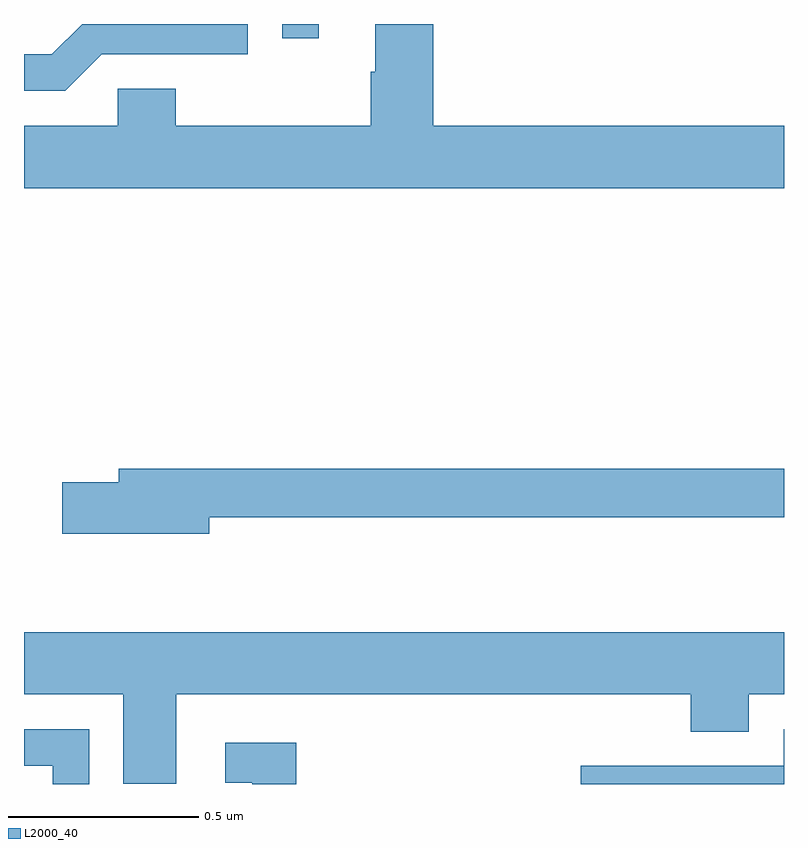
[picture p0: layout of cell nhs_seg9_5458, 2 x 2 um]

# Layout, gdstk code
import gdstk
lib = gdstk.Library(unit=1e-6, precision=1e-09)
def R(c, l, rs):  # rectangles x0, y0, x1, y1
    for r in rs: c.add(gdstk.rectangle(r[:2], r[2:], *l))
def P(c, l, *ps):  # polygons
    for p in ps: c.add(gdstk.Polygon(p, *l))
L2000_40 = (2000, 40)

nhs_seg9_5458 = lib.new_cell('nhs_seg9_5458')
R(nhs_seg9_5458, L2000_40, [(179.679,1215.462,179.776,1215.5)])
P(nhs_seg9_5458, L2000_40, [(181,1215.232),(180.077,1215.232),(180.077,1215.5),(179.924,1215.5),(179.924,1215.374),(179.912,1215.374),(179.912,1215.232),(179.399,1215.232),(179.399,1215.33),(179.247,1215.33),(179.247,1215.232),(179,1215.232),(179,1215.068),(181,1215.068)],
  [(179.205,1215.42),(179.589,1215.42),(179.589,1215.5),(179.153,1215.5),(179.073,1215.42),(179,1215.42),(179,1215.324),(179.109,1215.324)],
  [(179.488,1214.202),(181,1214.202),(181,1214.33),(179.249,1214.33),(179.249,1214.294),(179.1,1214.294),(179.1,1214.159),(179.488,1214.159)],
  [(179.401,1213.736),(180.755,1213.736),(180.755,1213.637),(180.907,1213.637),(180.907,1213.736),(181,1213.736),(181,1213.9),(179,1213.9),(179,1213.736),(179.261,1213.736),(179.261,1213.501),(179.401,1213.501)],
  [(181,1213.644),(180.999,1213.644),(180.999,1213.548),(180.465,1213.548),(180.465,1213.5),(181,1213.5)],
  [(179.172,1213.644),(179,1213.644),(179,1213.548),(179.075,1213.548),(179.075,1213.5),(179.172,1213.5)],
  [(179.717,1213.609),(179.529,1213.609),(179.529,1213.503),(179.601,1213.503),(179.601,1213.5),(179.717,1213.5)])

lib.write_gds('nhs_seg9_5458.gds')
